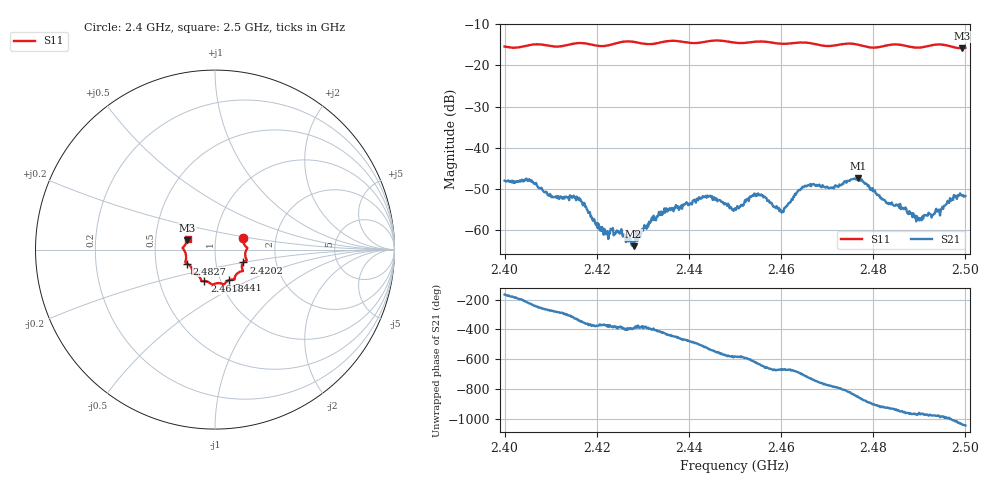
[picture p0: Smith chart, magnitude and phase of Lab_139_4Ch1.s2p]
# Hz S RI R 50
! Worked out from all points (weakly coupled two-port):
!   601 points, 2.4 GHz to 2.5 GHz, reference 50 ohm
!   highest |S21| = -47.45 dB at 2.4767 GHz (marker M1); lowest = -63.9 dB at 2.428 GHz (marker M2)
!   lowest |S11| = -15.8 dB at 2.4993 GHz (marker M3), VSWR 1.39, Z = 36.5 + j3.85 ohm
!   |S11| at or under -10 dB: start of sweep to end of sweep
!   S12 and S22 are empty: the file has one direction only
!   S11 on the Smith chart (normalised r, x): 2.4 GHz: 1.36, +0.18; 2.4202 GHz: 1.36, -0.20; 2.441 GHz: 1.10, -0.39; 2.4618 GHz: 0.84, -0.30; 2.4827 GHz: 0.72, -0.12; 2.5 GHz: 0.73, +0.09
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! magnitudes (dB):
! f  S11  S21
! 2.4 GHz  -15.4  -48.0
! 2.4052 GHz  -15.1  -48.0
! 2.4102 GHz  -15.3  -52.0
! 2.4167 GHz  -14.5  -53.1
! 2.4202 GHz  -15.2  -59.5
! 2.428 GHz  -14.3  -63.9
! 2.4333 GHz  -14.5  -56.5
! 2.441 GHz  -14.6  -52.8
! 2.4445 GHz  -14.0  -51.7
! 2.45 GHz  -14.5  -54.7
! 2.4547 GHz  -14.2  -51.3
! 2.46 GHz  -14.7  -55.5
! 2.4618 GHz  -14.6  -53.4
! 2.4642 GHz  -14.4  -50.3
! 2.4667 GHz  -14.6  -49.0
! 2.471 GHz  -15.2  -49.7
! 2.4767 GHz  -14.9  -47.5
! 2.4827 GHz  -15.2  -53.1
! 2.4833 GHz  -15.0  -53.7
! 2.4903 GHz  -15.6  -57.4
! 2.4993 GHz  -15.8  -51.6
! 2.5 GHz  -15.7  -51.7
